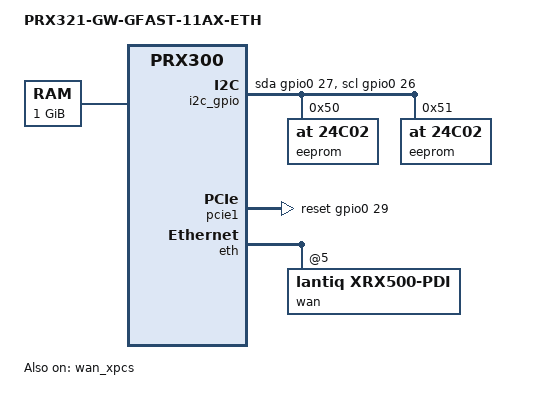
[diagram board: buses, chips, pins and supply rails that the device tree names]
/dts-v1/;
#include "prx321-gw-11ax-sp.dtsi"

/* Model configuration */
/ {
	model = "PRX321-GW-GFAST-11AX-ETH";
	compatible = "intel,prx321-gw-gfast-11ax-eth", "intel,prx300";

	chosen {
		stdout-path = "serial0";
	};

	memory@0 {
		device_type = "memory";
		reg = <0x20000000 0x40000000>; /* 1024 MB */
	};
};

&ponmbox1 {
	status = "okay";
	resets = <&rcu0 0x10 28>;
	reset-names = "ponip";
	/delete-property/ pinctrl-names;
	/delete-property/ pinctrl-0;
};

/* invert the reset polarity for VRX618 */
&pcie1 {
	reset-gpios = <&gpio0 29 GPIO_ACTIVE_HIGH>;
};

/ {
	aliases {
		i2c0	= &i2c_gpio;
	};

	i2c_gpio: i2c-gpio {
		compatible = "i2c-gpio";
		gpios = <&gpio0 27 GPIO_ACTIVE_HIGH /* sda */
			 &gpio0 26 GPIO_ACTIVE_HIGH /* scl */
			>;
		i2c-gpio,delay-us = <5>;	/* ~100 kHz */
		pinctrl-names = "default";
		pinctrl-0 = <&pinctrl_i2c0_gpio>;
		#address-cells = <1>;
		#size-cells = <0>;

		/* EEPROM of the optical WAN transceiver */
		eeprom@50 {
			compatible = "at,24c02";
			reg = <0x50>;
		};
		eeprom@51 {
			compatible = "at,24c02";
			reg = <0x51>;
		};
	};
};

&eth {
	wan: interface@5 {
		compatible = "lantiq,xrx500-pdi";
		#address-cells = <1>;
		#size-cells = <0>;
		reg = <5>;
		lantiq,wan = <1>;
		intel,dp-dev-port = <2>;
		intel,dp-port-id = <2>;
		mac = <&gsw_mac0>;

		ethernet@5 {
			compatible = "lantiq,xrx500-pdi-port";
			reg = <1>;
			phy-mode = "rgmii";
		};
	};
};

&wan_xpcs {
	status = "okay";
	xpcs-mode = <0>;
};

/* use CPU3 for MPE firmware */
&cpu3 {
	default-OS = "MPEFW";
};

&gsw_core {
	intel,gsw-globalpce-rules = <256>;
};

&cqm {
	DQ3: cpu-port3 {
		intel,deq-port = <3 4>;
	};
};
